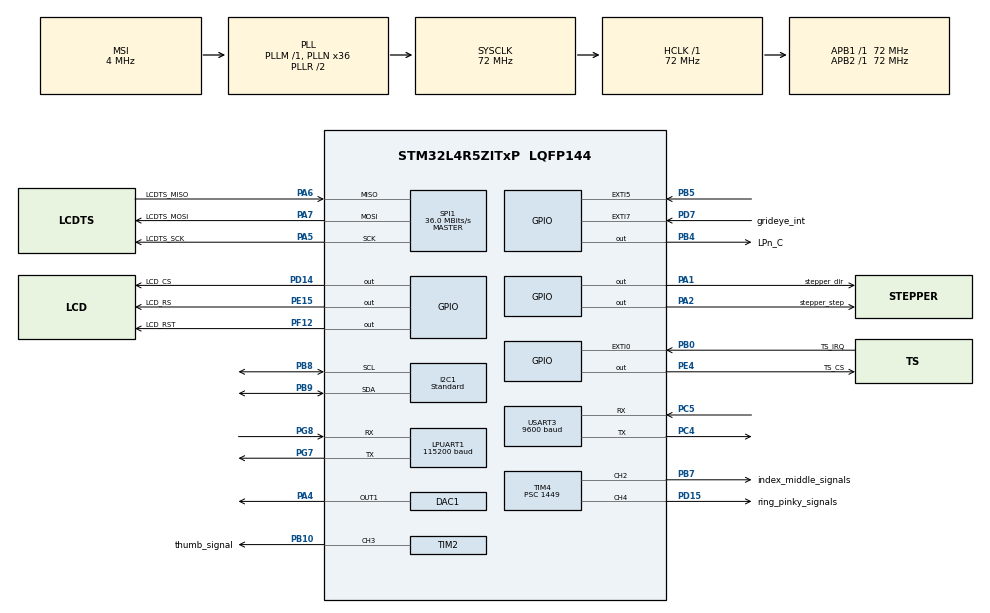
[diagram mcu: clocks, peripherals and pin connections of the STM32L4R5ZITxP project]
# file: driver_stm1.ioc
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DAC1.DAC_Trigger-DAC_OUT1=DAC_TRIGGER_T6_TRGO
Dma.DAC1_CH1.0.Direction=DMA_MEMORY_TO_PERIPH
Dma.DAC1_CH1.0.EventEnable=DISABLE
Dma.DAC1_CH1.0.Instance=DMA1_Channel3
Dma.DAC1_CH1.0.MemDataAlignment=DMA_MDATAALIGN_HALFWORD
Dma.DAC1_CH1.0.MemInc=DMA_MINC_ENABLE
Dma.DAC1_CH1.0.Mode=DMA_NORMAL
Dma.DAC1_CH1.0.PeriphDataAlignment=DMA_PDATAALIGN_HALFWORD
Dma.DAC1_CH1.0.PeriphInc=DMA_PINC_DISABLE
Dma.DAC1_CH1.0.Polarity=HAL_DMAMUX_REQUEST_GEN_RISING
Dma.DAC1_CH1.0.Priority=DMA_PRIORITY_LOW
Dma.DAC1_CH1.0.RequestNumber=1
Dma.DAC1_CH1.0.SignalID=NONE
Dma.DAC1_CH1.0.SyncEnable=DISABLE
Dma.DAC1_CH1.0.SyncPolarity=HAL_DMAMUX_SYNC_NO_EVENT
Dma.DAC1_CH1.0.SyncRequestNumber=1
Dma.DAC1_CH1.0.SyncSignalID=NONE
Dma.Request0=DAC1_CH1
I2C1.I2C_Speed_Mode=I2C_Standard
I2C1.Timing=0x10C18DCC
LPUART1.BaudRate=115200
LPUART1.WordLength=UART_WORDLENGTH_8B
Mcu.Family=STM32L4
Mcu.Name=STM32L4R5ZITxP
Mcu.Package=LQFP144
NVIC.DMA1_Channel3_IRQn=true\:0\:0\:false\:false\:true\:false\:true\:true
NVIC.EXTI9_5_IRQn=true\:0\:0\:false\:false\:true\:true\:true\:true
NVIC.PriorityGroup=NVIC_PRIORITYGROUP_4
PA1.GPIO_Label=stepper_dir
PA1.Signal=GPIO_Output
PA10.Signal=USB_OTG_FS_ID
PA13\ (JTMS/SWDIO).Mode=Serial_Wire
PA13\ (JTMS/SWDIO).Signal=SYS_JTMS-SWDIO
PA14\ (JTCK/SWCLK).Mode=Serial_Wire
PA14\ (JTCK/SWCLK).Signal=SYS_JTCK-SWCLK
PA2.GPIO_Label=stepper_step
PA2.Signal=GPIO_Output
PA3.Signal=ADCx_IN8
PA4.Signal=COMP_DAC11_group
PA5.GPIO_Label=LCDTS_SCK
PA5.Mode=Full_Duplex_Master
PA5.Signal=SPI1_SCK
PA6.GPIO_Label=LCDTS_MISO
PA6.Mode=Full_Duplex_Master
PA6.Signal=SPI1_MISO
PA7.GPIO_Label=LCDTS_MOSI
PA7.Mode=Full_Duplex_Master
PA7.Signal=SPI1_MOSI
PA8.Signal=USB_OTG_FS_SOF
PA9.Signal=USB_OTG_FS_VBUS
PB0.GPIO_Label=TS_IRQ
PB0.Signal=GPXTI0
PB1.Signal=ADCx_IN16
PB10.GPIO_Label=thumb_signal
PB10.Signal=S_TIM2_CH3
PB12.Signal=SAI2_FS_A
PB13.Signal=SAI2_SCK_A
PB14.Signal=S_TIM15_CH1
PB15.Signal=SAI2_SD_A
PB2.Signal=COMP1_INP
PB3\ (JTDO/TRACESWO).Signal=SPI3_SCK
PB4\ (NJTRST).GPIO_Label=LPn_C
PB4\ (NJTRST).Signal=GPIO_Output
PB5.Signal=GPXTI5
PB6.Signal=COMP2_INP
PB7.GPIO_Label=index_middle_signals
PB7.Signal=S_TIM4_CH2
PB8.Mode=I2C
PB8.Signal=I2C1_SCL
PB9.Mode=I2C
PB9.Signal=I2C1_SDA
PC0.Signal=ADCx_IN1
PC1.Signal=ADCx_IN2
PC10.Signal=SDMMC1_D2
PC11.Signal=SDMMC1_D3
PC12.Signal=SDMMC1_CK
PC13.Signal=SYS_WKUP2
PC14-OSC32_IN\ (PC14).Signal=RCC_OSC32_IN
PC15-OSC32_OUT\ (PC15).Signal=RCC_OSC32_OUT
PC2.Signal=ADCx_IN3
PC3.Signal=ADCx_IN4
PC4.Mode=Asynchronous
PC4.Signal=USART3_TX
PC5.Mode=Asynchronous
PC5.Signal=USART3_RX
PC8.Signal=SDMMC1_D0
PC9.Signal=SDMMC1_D1
PD0.Signal=CAN1_RX
PD14.GPIO_Label=LCD_CS
PD14.GPIO_Speed=GPIO_SPEED_FREQ_VERY_HIGH
PD14.PinState=GPIO_PIN_SET
PD14.Signal=GPIO_Output
PD15.GPIO_Label=ring_pinky_signals
PD15.Signal=S_TIM4_CH4
PD2.Signal=SDMMC1_CMD
PD3.Signal=USART2_CTS
PD4.Signal=USART2_RTS
PD5.Signal=USART2_TX
PD6.Signal=USART2_RX
PD7.GPIO_Label=grideye_int
PD7.GPIO_ModeDefaultEXTI=GPIO_MODE_IT_FALLING
PD7.Signal=GPXTI7
PE0.Signal=S_TIM4_ETR
PE10.Signal=TIM1_CH2N
PE11.Signal=S_TIM1_CH2
PE12.Signal=TIM1_CH3N
PE13.Signal=S_TIM1_CH3
PE14.Signal=TIM1_BKIN2
PE15.GPIO_Label=LCD_RS
PE15.GPIO_Speed=GPIO_SPEED_FREQ_VERY_HIGH
PE15.Signal=GPIO_Output
PE2.Signal=SAI1_MCLK_A
PE3.Signal=SAI1_SD_B
PE4.GPIO_Label=TS_CS
PE4.Signal=GPIO_Output
PE7.Signal=S_TIM1_ETR
PE8.Signal=TIM1_CH1N
PE9.Signal=S_TIM1_CH1
PF0.Signal=I2C2_SDA
PF1.Signal=I2C2_SCL
PF12.GPIO_Label=LCD_RST
PF12.PinState=GPIO_PIN_SET
PF12.Signal=GPIO_Output
PF2.Signal=I2C2_SMBA
PF7.Signal=SAI1_MCLK_B
PG7.Mode=Asynchronous
PG7.Signal=LPUART1_TX
PG8.Mode=Asynchronous
PG8.Signal=LPUART1_RX
PH0-OSC_IN\ (PH0).Mode=HSE-External-Oscillator
PH0-OSC_IN\ (PH0).Signal=RCC_OSC_IN
PH1-OSC_OUT\ (PH1).Mode=HSE-External-Oscillator
PH1-OSC_OUT\ (PH1).Signal=RCC_OSC_OUT
ProjectManager.HeapSize=0x200
ProjectManager.StackSize=0x400
ProjectManager.TargetToolchain=STM32CubeIDE
RCC.AHBFreq_Value=72000000
RCC.APB1Freq_Value=72000000
RCC.APB1TimFreq_Value=72000000
RCC.APB2Freq_Value=72000000
RCC.APB2TimFreq_Value=72000000
RCC.CortexFreq_Value=72000000
RCC.HCLKFreq_Value=72000000
RCC.HSE_VALUE=8000000
RCC.HSI48_VALUE=48000000
RCC.HSI_VALUE=16000000
RCC.LSE_VALUE=32768
RCC.MSI_VALUE=4000000
RCC.PLLN=36
RCC.SYSCLKFreq_VALUE=72000000
RCC.SYSCLKSource=RCC_SYSCLKSOURCE_PLLCLK
RCC.VCOOutputFreq_Value=144000000
SH.ADCx_IN1.0=ADC1_IN1
SH.ADCx_IN16.0=ADC1_IN16
SH.ADCx_IN2.0=ADC1_IN2
SH.ADCx_IN3.0=ADC1_IN3
SH.ADCx_IN4.0=ADC1_IN4
SH.ADCx_IN8.0=ADC1_IN8
SH.COMP_DAC11_group.0=DAC1_OUT1,DAC_OUT1
SH.S_TIM15_CH1.0=TIM15_CH1
SH.S_TIM1_CH1.0=TIM1_CH1
SH.S_TIM1_CH2.0=TIM1_CH2
SH.S_TIM1_CH3.0=TIM1_CH3
SH.S_TIM1_ETR.0=TIM1_ETR
SH.S_TIM2_CH3.0=TIM2_CH3,PWM Generation3 CH3
SH.S_TIM4_CH2.0=TIM4_CH2,PWM Generation2 CH2
SH.S_TIM4_CH4.0=TIM4_CH4,PWM Generation4 CH4
SH.S_TIM4_ETR.0=TIM4_ETR
SPI1.CalculateBaudRate=36.0 MBits/s
SPI1.DataSize=SPI_DATASIZE_8BIT
SPI1.Direction=SPI_DIRECTION_2LINES
SPI1.Mode=SPI_MODE_MASTER
SPI1.VirtualType=VM_MASTER
TIM1.Prescaler=71
TIM2.AutoReloadPreload=TIM_AUTORELOAD_PRELOAD_ENABLE
TIM2.Channel-Output\ Compare1\ No\ Output=TIM_CHANNEL_1
TIM2.Channel-PWM\ Generation3\ CH3=TIM_CHANNEL_3
TIM2.Period=999
TIM2.Prescaler=1449
TIM4.AutoReloadPreload=TIM_AUTORELOAD_PRELOAD_ENABLE
TIM4.Channel-PWM\ Generation2\ CH2=TIM_CHANNEL_2
TIM4.Channel-PWM\ Generation4\ CH4=TIM_CHANNEL_4
TIM4.Period=999
TIM4.Prescaler=1449
TIM4.Pulse-PWM\ Generation2\ CH2=150
TIM4.Pulse-PWM\ Generation4\ CH4=150
TIM6.Period=99
TIM6.Prescaler=44
TIM6.TIM_MasterOutputTrigger=TIM_TRGO_UPDATE
USART3.BaudRate=9600
USART3.VirtualMode-Asynchronous=VM_ASYNC
VP_TIM1_VS_ClockSourceINT.Mode=Internal
VP_TIM2_VS_no_output1.Mode=Output Compare1 No Output
VP_TIM3_VS_ClockSourceINT.Mode=Internal
VP_TIM4_VS_ClockSourceINT.Mode=Internal
VP_TIM6_VS_ClockSourceINT.Mode=Enable_Timer
board=NUCLEO-L4R5ZI-P

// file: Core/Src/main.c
/* USER CODE BEGIN Header */
/**
  ******************************************************************************
  * @file           : main.c
  * @brief          : Main program body
  ******************************************************************************
  * @attention
  *
  * Copyright (c) 2025 STMicroelectronics.
  * All rights reserved.
  *
  * This software is licensed under terms that can be found in the LICENSE file
  * in the root directory of this software component.
  * If no LICENSE file comes with this software, it is provided AS-IS.
  *
  ******************************************************************************
  */
/* USER CODE END Header */
#include "main.h"

/* USER CODE BEGIN Includes */
#include "grideye.h"
#include "stepper.h"
#include <stdio.h>
#include <stdlib.h>
#include "vl53l7cx_api.h"
#include "knowledge.h"
#include "NanoEdgeAI.h"
#include "audio_clips.h"
/* USER CODE END Includes */

DAC_HandleTypeDef hdac1;
DMA_HandleTypeDef hdma_dac1_ch1;

I2C_HandleTypeDef hi2c1;

UART_HandleTypeDef hlpuart1;
UART_HandleTypeDef huart3;

SPI_HandleTypeDef hspi1;

TIM_HandleTypeDef htim1;
TIM_HandleTypeDef htim2;
TIM_HandleTypeDef htim3;
TIM_HandleTypeDef htim4;
TIM_HandleTypeDef htim6;

/* USER CODE BEGIN PV */
VL53L7CX_Configuration Dev;
VL53L7CX_ResultsData Results;
uint8_t isAlive, status, isReady, i;

/* USER CODE END PV */

void SystemClock_Config(void);
static void MX_GPIO_Init(void);
static void MX_DMA_Init(void);
static void MX_TIM1_Init(void);
static void MX_I2C1_Init(void);
static void MX_LPUART1_UART_Init(void);
static void MX_TIM2_Init(void);
static void MX_TIM4_Init(void);
static void MX_TIM3_Init(void);
static void MX_SPI1_Init(void);
static void MX_DAC1_Init(void);
static void MX_TIM6_Init(void);
static void MX_USART3_UART_Init(void);

/* USER CODE BEGIN 0 */
#ifdef __GNUC__
#define PUTCHAR_PROTOTYPE int __io_putchar(int ch)
#else
#define PUTCHAR_PROTOTYPE int fputc(int ch, FILE *f)
#endif

PUTCHAR_PROTOTYPE
{
	 HAL_UART_Transmit(&hlpuart1, (uint8_t *)&ch, 1, HAL_MAX_DELAY);  // Changed from huart3
	    return ch;
}

void fill_buffer(float sample_buffer[]) {
	uint8_t isReady = 0;

	    // Wait for sensor data to be ready
	    do {
	        status = vl53l7cx_check_data_ready(&Dev, &isReady);
	        HAL_Delay(10);
	    } while(!isReady);

	    // Get ranging data from sensor
	    status = vl53l7cx_get_ranging_data(&Dev, &Results);

	    if(status == 0) {
	        // Fill buffer with distance data (64 zones)
	        for(int i = 0; i < 64; i++) {
	            uint16_t distance = Results.distance_mm[i];
	            uint8_t target_status = Results.target_status[i];

	            // VL53L7CX target_status values:
	            // 5 = Valid ranging
	            // 9 = Valid ranging with signal rate too low
	            // Others = Invalid (no target, wraparound, etc.)

	            if(target_status == 5 || target_status == 9) {
	                // Valid reading
	                if(distance > 255) {
	                    sample_buffer[i] = 255.0;
	                } else {
	                    sample_buffer[i] = (float)distance;
	                }
	            } else {
	                // Invalid reading - use max value to indicate "no object"
	                sample_buffer[i] = 255.0;
	            }
	        }

	        //Send all 64 data points in CSV format
//	        for(int i = 0; i < 64; i++) {
//	            printf("%.2f", sample_buffer[i]);
//	            if(i < 63) {
//	                printf(",");
//	            }
//	        }
//	        printf("\r\n");
	    } else {
	        printf("Error reading sensor: %d\r\n", status);
	    }
}

extern DAC_HandleTypeDef hdac1;
extern TIM_HandleTypeDef htim6;

static uint16_t audio_buffer_12[80000];  // Safe size
static uint32_t rps_len_12 = 0;

void Audio_Init(void)
{
    HAL_DAC_Start(&hdac1, DAC_CHANNEL_1);

    int16_t* src = (int16_t*)rps_clip_u8;  // Signed, not unsigned
    rps_len_12 = sizeof(rps_clip_u8) / 2;

    for (uint32_t i = 0; i < rps_len_12; i++) {
        audio_buffer_12[i] = (uint16_t)((src[i] + 32768) >> 4);
    }
}

static const uint16_t *current_buf = NULL;
static uint32_t current_len = 0;
static uint8_t audio_busy = 0;

static void Audio_PlayBuffer(const uint16_t *buf, uint32_t len)
{
	 printf("PlayBuffer called, len=%lu\r\n", len);
    if (audio_busy) {
    	printf("BUSY - returning\r\n");

        return;
    }

    current_buf = buf;
    current_len = len;
    audio_busy = 1;

    // Make sure timer is stopped before we start
    HAL_TIM_Base_Stop(&htim6);

    // Start timer that triggers DAC at 16 kHz
    HAL_TIM_Base_Start(&htim6);

    printf("Before DMA start\r\n");

    // Start DAC DMA in 12-bit right-aligned mode
    HAL_DAC_Start_DMA(&hdac1,
                      DAC_CHANNEL_1,
                      (uint32_t *)current_buf,
                      current_len,
                      DAC_ALIGN_12B_R);

    printf("After DMA start\r\n");
}

void Audio_PlayRPS(void)
{
	   printf("audio_busy = %d\r\n", audio_busy);
    Audio_PlayBuffer(audio_buffer_12, rps_len_12);
}
//void Audio_PlayWin(void)
//{
//    uint16_t* src = (uint16_t*)win_clip_u8;
//    uint32_t num_samples = win_clip_u8_len / 2;
//
//    for (uint32_t i = 0; i < num_samples; i++) {
//        audio_buffer_12[i] = src[i] >> 4;
//    }
//    Audio_PlayBuffer(audio_buffer_12, num_samples);
//}
//
//void Audio_PlayLose(void)
//{
//    uint16_t* src = (uint16_t*)lose_clip_u8;
//    uint32_t num_samples = lose_clip_u8_len / 2;
//
//    for (uint32_t i = 0; i < num_samples; i++) {
//        audio_buffer_12[i] = src[i] >> 4;
//    }
//    Audio_PlayBuffer(audio_buffer_12, num_samples);
//}

// Called when DMA transfer for DAC channel 1 completes
void HAL_DAC_ConvCpltCallbackCh1(DAC_HandleTypeDef *hdac)
{
    if (hdac->Instance == DAC1) {
        // Stop timer and DMA when clip ends
        HAL_TIM_Base_Stop(&htim6);
        HAL_DAC_Stop_DMA(hdac, DAC_CHANNEL_1);
        audio_busy = 0;
    }
}

/* USER CODE END 0 */

int main(void)
{

  /* MCU Configuration--------------------------------------------------------*/

  /* Reset of all peripherals, Initializes the Flash interface and the Systick. */
  HAL_Init();

  /* Configure the system clock */
  SystemClock_Config();

  /* Initialize all configured peripherals */
  MX_GPIO_Init();
  MX_DMA_Init();
  MX_TIM1_Init();
  MX_I2C1_Init();
  MX_LPUART1_UART_Init();
  MX_TIM2_Init();
  MX_TIM4_Init();
  MX_TIM3_Init();
  MX_SPI1_Init();
  MX_DAC1_Init();
  MX_TIM6_Init();
  MX_USART3_UART_Init();
  /* USER CODE BEGIN 2 */
  HAL_TIM_Base_Start(&htim1);

  Audio_Init();
  srand(HAL_GetTick());

  printf("Initializing Grid-Eye...\r\n");
  GridEye_Init(&hi2c1);
  HAL_Delay(100);

  // Test thermistor
  float thermistor_temp = GridEye_ReadThermistor(&hi2c1);
  printf("Thermistor temp: %.2f C\r\n", thermistor_temp);
  printf("Grid-Eye ready!\r\n");

  Dev.platform.address = 0x52;
  	  HAL_GPIO_WritePin(LPn_C_GPIO_Port, LPn_C_Pin, GPIO_PIN_RESET);
  	  HAL_Delay(10);
  	  HAL_GPIO_WritePin(LPn_C_GPIO_Port, LPn_C_Pin, GPIO_PIN_SET);
  	  HAL_Delay(100);
  	  vl53l7cx_is_alive(&Dev, &isAlive);

  	    if (isAlive) {
  	          printf("Initializing sensor...\r\n");
  	          vl53l7cx_init(&Dev);
  	          vl53l7cx_set_ranging_mode(&Dev, VL53L7CX_RANGING_MODE_AUTONOMOUS);
  	          vl53l7cx_set_resolution(&Dev, VL53L7CX_RESOLUTION_8X8);
  	          vl53l7cx_set_ranging_frequency_hz(&Dev, 15);
  	          vl53l7cx_start_ranging(&Dev);
  	          }
  	    else {
  	  	  printf("TOF dead\r\n");
  	    }
  	    float input_user_buffer[DATA_INPUT_USER * AXIS_NUMBER];
  	    float output_class_buffer[CLASS_NUMBER];

  /* USER CODE END 2 */

  /* Infinite loop */
  /* USER CODE BEGIN WHILE */
  	  enum neai_state error_code = neai_classification_init(knowledge);
  	     if (error_code != NEAI_OK) {
  	   	  printf("NanoEdgeAI init error: %d\r\n", error_code);
  	     }
  	     uint16_t id_class = 0;
  	     const char* class_names[] = {
  	            "Unknown",        // After testing, update this
  	            "Scissors",       // Scissors?
  	            "Rock",    // Rock?
  	            "Paper",     // Paper?
  	            "No Sign"      // Class 4 confirmed
  	        };
  while (1)
  {
	  	HAL_Delay(20);
    	int max_temp_col = find_hottest_col(&hi2c1);
    	if (max_temp_col != -1) { // if person detected

    		if(max_temp_col == 3 || max_temp_col == 4) {
    			printf("Person detected\r\n");
    			move_to_zone(7, &htim1);
    			int robotPick;
    			// countdown rock paper scissors shoot coordinated with lcd
    			printf("1. About to play audio\r\n");
    			printf("2. Audio started\r\n");
    			uint8_t countdown_cmd = 9;
    			while(HAL_UART_Transmit(&huart3, &countdown_cmd, 1, HAL_MAX_DELAY) != HAL_OK) {
    				printf("Retrying\r\n");
    			}

    			HAL_Delay(3000);
    			Audio_PlayRPS();

    			HAL_Delay(5000);
    			printf("3. Countdown done\r\n");
    			printf("SHOOT\r\n");
    			int gestureCounts[4];
    			for (int i = 0; i < 4; i++) {
    				gestureCounts[i] = 0;
    			}
    			enum neai_state run_code;
    			for (int i = 0; i < 40; i++) {
    				fill_buffer(input_user_buffer);
    				run_code = neai_classification(input_user_buffer, output_class_buffer, &id_class);
    				if (run_code == NEAI_OK) {
    				    //printf("Detected: %s (ID: %d)\r\n", class_names[id_class], id_class);
    				    if (id_class == 1) {
    				    	gestureCounts[1]++;
    				    }
    				    else if(id_class == 2) {
    				    	gestureCounts[2]++;
    				    }
    				    else if(id_class == 3) {
    				    	gestureCounts[3]++;
    				    }
    				}
    				HAL_Delay(2);
    			}
    			int maxCount = 0;
    			int maxIndex = 0;
    			for (int i = 0; i < 4; i++) {
    				if (gestureCounts[i] > maxCount) {
    					maxCount = gestureCounts[i];
    					maxIndex = i;
    				}
    			}
    			printf("FINAL GESTURE: %s\r\n", class_names[maxIndex]);

    			//if no sign is detected, try again
    			if (maxIndex == 0) {
    			    printf("No valid gesture detected, try again\r\n");
    			    move_to_zone(4, &htim1);
    			    continue;
    			}

    			int chance = rand() % 100;

    			if (chance < 70) {
    			    // Win - counter their move
    			    if (maxIndex == 1) robotPick = 1;
    			    else if (maxIndex == 2) robotPick = 2;
    			    else robotPick = 0;
    			}
    			else if (chance < 85) {
    			    // Tie
    			    robotPick = maxIndex - 1;
    			}
    			else {
    			    // Lose
    			    if (maxIndex == 1) robotPick = 2;
    			    else if (maxIndex == 2) robotPick = 0;
    			    else robotPick = 1;
    			}

    			char gestures[] = {'S', 'R', 'P'};

    			char gesture = gestures[robotPick];
    			uint8_t combo = robotPick*3+(maxIndex-1);
    			printf("Sending gesture: %c\r\n", gesture);
    			while(HAL_UART_Transmit(&huart3, &combo, 1, HAL_MAX_DELAY) != HAL_OK) {
    			    printf("Retrying\r\n");
    			}
    			printf("Sent\r\n");

    			//updated for maxIndex instead of id_class

    			HAL_Delay(1000);

    			uint32_t checkStart = HAL_GetTick();
    			int personLeft = 1;

    			while (HAL_GetTick() - checkStart < 3000) {
    			    if (find_hottest_col(&hi2c1) != -1) {
    			        personLeft = 0;
    			        break;
    			    }
    			    HAL_Delay(100);
    			}

    			if (personLeft) {
    			    move_to_zone(4, &htim1);

    			}

    			id_class = 0;
    		}
    	}

    /* USER CODE END WHILE */

  }
}

void SystemClock_Config(void)
{
  RCC_OscInitTypeDef RCC_OscInitStruct = {0};
  RCC_ClkInitTypeDef RCC_ClkInitStruct = {0};

  /** Configure the main internal regulator output voltage
  */
  if (HAL_PWREx_ControlVoltageScaling(PWR_REGULATOR_VOLTAGE_SCALE1) != HAL_OK)
  {
    Error_Handler();
  }

  /** Initializes the RCC Oscillators according to the specified parameters
  * in the RCC_OscInitTypeDef structure.
  */
  RCC_OscInitStruct.OscillatorType = RCC_OSCILLATORTYPE_MSI;
  RCC_OscInitStruct.MSIState = RCC_MSI_ON;
  RCC_OscInitStruct.MSICalibrationValue = 0;
  RCC_OscInitStruct.MSIClockRange = RCC_MSIRANGE_6;
  RCC_OscInitStruct.PLL.PLLState = RCC_PLL_ON;
  RCC_OscInitStruct.PLL.PLLSource = RCC_PLLSOURCE_MSI;
  RCC_OscInitStruct.PLL.PLLM = 1;
  RCC_OscInitStruct.PLL.PLLN = 36;
  RCC_OscInitStruct.PLL.PLLP = RCC_PLLP_DIV2;
  RCC_OscInitStruct.PLL.PLLQ = RCC_PLLQ_DIV2;
  RCC_OscInitStruct.PLL.PLLR = RCC_PLLR_DIV2;
  if (HAL_RCC_OscConfig(&RCC_OscInitStruct) != HAL_OK)
  {
    Error_Handler();
  }

  /** Initializes the CPU, AHB and APB buses clocks
  */
  RCC_ClkInitStruct.ClockType = RCC_CLOCKTYPE_HCLK|RCC_CLOCKTYPE_SYSCLK
                              |RCC_CLOCKTYPE_PCLK1|RCC_CLOCKTYPE_PCLK2;
  RCC_ClkInitStruct.SYSCLKSource = RCC_SYSCLKSOURCE_PLLCLK;
  RCC_ClkInitStruct.AHBCLKDivider = RCC_SYSCLK_DIV1;
  RCC_ClkInitStruct.APB1CLKDivider = RCC_HCLK_DIV1;
  RCC_ClkInitStruct.APB2CLKDivider = RCC_HCLK_DIV1;

  if (HAL_RCC_ClockConfig(&RCC_ClkInitStruct, FLASH_LATENCY_3) != HAL_OK)
  {
    Error_Handler();
  }
}

static void MX_DAC1_Init(void)
{

  DAC_ChannelConfTypeDef sConfig = {0};

  /** DAC Initialization
  */
  hdac1.Instance = DAC1;
  if (HAL_DAC_Init(&hdac1) != HAL_OK)
  {
    Error_Handler();
  }

  /** DAC channel OUT1 config
  */
  sConfig.DAC_SampleAndHold = DAC_SAMPLEANDHOLD_DISABLE;
  sConfig.DAC_Trigger = DAC_TRIGGER_T6_TRGO;
  sConfig.DAC_HighFrequency = DAC_HIGH_FREQUENCY_INTERFACE_MODE_DISABLE;
  sConfig.DAC_OutputBuffer = DAC_OUTPUTBUFFER_ENABLE;
  sConfig.DAC_ConnectOnChipPeripheral = DAC_CHIPCONNECT_DISABLE;
  sConfig.DAC_UserTrimming = DAC_TRIMMING_FACTORY;
  if (HAL_DAC_ConfigChannel(&hdac1, &sConfig, DAC_CHANNEL_1) != HAL_OK)
  {
    Error_Handler();
  }

}

static void MX_I2C1_Init(void)
{

  hi2c1.Instance = I2C1;
  hi2c1.Init.Timing = 0x10C18DCC;
  hi2c1.Init.OwnAddress1 = 0;
  hi2c1.Init.AddressingMode = I2C_ADDRESSINGMODE_7BIT;
  hi2c1.Init.DualAddressMode = I2C_DUALADDRESS_DISABLE;
  hi2c1.Init.OwnAddress2 = 0;
  hi2c1.Init.OwnAddress2Masks = I2C_OA2_NOMASK;
  hi2c1.Init.GeneralCallMode = I2C_GENERALCALL_DISABLE;
  hi2c1.Init.NoStretchMode = I2C_NOSTRETCH_DISABLE;
  if (HAL_I2C_Init(&hi2c1) != HAL_OK)
  {
    Error_Handler();
  }

  /** Configure Analogue filter
  */
  if (HAL_I2CEx_ConfigAnalogFilter(&hi2c1, I2C_ANALOGFILTER_ENABLE) != HAL_OK)
  {
    Error_Handler();
  }

  /** Configure Digital filter
  */
  if (HAL_I2CEx_ConfigDigitalFilter(&hi2c1, 0) != HAL_OK)
  {
    Error_Handler();
  }

}

static void MX_LPUART1_UART_Init(void)
{

  hlpuart1.Instance = LPUART1;
  hlpuart1.Init.BaudRate = 115200;
  hlpuart1.Init.WordLength = UART_WORDLENGTH_8B;
  hlpuart1.Init.StopBits = UART_STOPBITS_1;
  hlpuart1.Init.Parity = UART_PARITY_NONE;
  hlpuart1.Init.Mode = UART_MODE_TX_RX;
  hlpuart1.Init.HwFlowCtl = UART_HWCONTROL_NONE;
  hlpuart1.Init.OneBitSampling = UART_ONE_BIT_SAMPLE_DISABLE;
  hlpuart1.Init.ClockPrescaler = UART_PRESCALER_DIV1;
  hlpuart1.AdvancedInit.AdvFeatureInit = UART_ADVFEATURE_NO_INIT;
  hlpuart1.FifoMode = UART_FIFOMODE_DISABLE;
  if (HAL_UART_Init(&hlpuart1) != HAL_OK)
  {
    Error_Handler();
  }
  if (HAL_UARTEx_SetTxFifoThreshold(&hlpuart1, UART_TXFIFO_THRESHOLD_1_8) != HAL_OK)
  {
    Error_Handler();
  }
  if (HAL_UARTEx_SetRxFifoThreshold(&hlpuart1, UART_RXFIFO_THRESHOLD_1_8) != HAL_OK)
  {
    Error_Handler();
  }
  if (HAL_UARTEx_DisableFifoMode(&hlpuart1) != HAL_OK)
  {
    Error_Handler();
  }

}

static void MX_USART3_UART_Init(void)
{

  huart3.Instance = USART3;
  huart3.Init.BaudRate = 9600;
  huart3.Init.WordLength = UART_WORDLENGTH_8B;
  huart3.Init.StopBits = UART_STOPBITS_1;
  huart3.Init.Parity = UART_PARITY_NONE;
  huart3.Init.Mode = UART_MODE_TX_RX;
  huart3.Init.HwFlowCtl = UART_HWCONTROL_NONE;
  huart3.Init.OverSampling = UART_OVERSAMPLING_16;
  huart3.Init.OneBitSampling = UART_ONE_BIT_SAMPLE_DISABLE;
  huart3.Init.ClockPrescaler = UART_PRESCALER_DIV1;
  huart3.AdvancedInit.AdvFeatureInit = UART_ADVFEATURE_NO_INIT;
  if (HAL_UART_Init(&huart3) != HAL_OK)
  {
    Error_Handler();
  }
  if (HAL_UARTEx_SetTxFifoThreshold(&huart3, UART_TXFIFO_THRESHOLD_1_8) != HAL_OK)
  {
    Error_Handler();
  }
  if (HAL_UARTEx_SetRxFifoThreshold(&huart3, UART_RXFIFO_THRESHOLD_1_8) != HAL_OK)
  {
    Error_Handler();
  }
  if (HAL_UARTEx_DisableFifoMode(&huart3) != HAL_OK)
  {
    Error_Handler();
  }

}

static void MX_SPI1_Init(void)
{

  /* SPI1 parameter configuration*/
  hspi1.Instance = SPI1;
  hspi1.Init.Mode = SPI_MODE_MASTER;
  hspi1.Init.Direction = SPI_DIRECTION_2LINES;
  hspi1.Init.DataSize = SPI_DATASIZE_8BIT;
  hspi1.Init.CLKPolarity = SPI_POLARITY_LOW;
  hspi1.Init.CLKPhase = SPI_PHASE_1EDGE;
  hspi1.Init.NSS = SPI_NSS_SOFT;
  hspi1.Init.BaudRatePrescaler = SPI_BAUDRATEPRESCALER_2;
  hspi1.Init.FirstBit = SPI_FIRSTBIT_MSB;
  hspi1.Init.TIMode = SPI_TIMODE_DISABLE;
  hspi1.Init.CRCCalculation = SPI_CRCCALCULATION_DISABLE;
  hspi1.Init.CRCPolynomial = 7;
  hspi1.Init.CRCLength = SPI_CRC_LENGTH_DATASIZE;
  hspi1.Init.NSSPMode = SPI_NSS_PULSE_ENABLE;
  if (HAL_SPI_Init(&hspi1) != HAL_OK)
  {
    Error_Handler();
  }

}

static void MX_TIM1_Init(void)
{

  TIM_ClockConfigTypeDef sClockSourceConfig = {0};
  TIM_MasterConfigTypeDef sMasterConfig = {0};

  htim1.Instance = TIM1;
  htim1.Init.Prescaler = 71;
  htim1.Init.CounterMode = TIM_COUNTERMODE_UP;
  htim1.Init.Period = 65535;
  htim1.Init.ClockDivision = TIM_CLOCKDIVISION_DIV1;
  htim1.Init.RepetitionCounter = 0;
  htim1.Init.AutoReloadPreload = TIM_AUTORELOAD_PRELOAD_DISABLE;
  if (HAL_TIM_Base_Init(&htim1) != HAL_OK)
  {
    Error_Handler();
  }
  sClockSourceConfig.ClockSource = TIM_CLOCKSOURCE_INTERNAL;
  if (HAL_TIM_ConfigClockSource(&htim1, &sClockSourceConfig) != HAL_OK)
  {
    Error_Handler();
  }
  sMasterConfig.MasterOutputTrigger = TIM_TRGO_RESET;
  sMasterConfig.MasterOutputTrigger2 = TIM_TRGO2_RESET;
  sMasterConfig.MasterSlaveMode = TIM_MASTERSLAVEMODE_DISABLE;
  if (HAL_TIMEx_MasterConfigSynchronization(&htim1, &sMasterConfig) != HAL_OK)
  {
    Error_Handler();
  }

}

static void MX_TIM2_Init(void)
{

  TIM_MasterConfigTypeDef sMasterConfig = {0};
  TIM_OC_InitTypeDef sConfigOC = {0};

  htim2.Instance = TIM2;
  htim2.Init.Prescaler = 1449;
  htim2.Init.CounterMode = TIM_COUNTERMODE_UP;
  htim2.Init.Period = 999;
  htim2.Init.ClockDivision = TIM_CLOCKDIVISION_DIV1;
  htim2.Init.AutoReloadPreload = TIM_AUTORELOAD_PRELOAD_ENABLE;
  if (HAL_TIM_OC_Init(&htim2) != HAL_OK)
  {
    Error_Handler();
  }
  if (HAL_TIM_PWM_Init(&htim2) != HAL_OK)
  {
    Error_Handler();
  }
  sMasterConfig.MasterOutputTrigger = TIM_TRGO_RESET;
  sMasterConfig.MasterSlaveMode = TIM_MASTERSLAVEMODE_DISABLE;
  if (HAL_TIMEx_MasterConfigSynchronization(&htim2, &sMasterConfig) != HAL_OK)
  {
    Error_Handler();
  }
  sConfigOC.OCMode = TIM_OCMODE_TIMING;
  sConfigOC.Pulse = 0;
  sConfigOC.OCPolarity = TIM_OCPOLARITY_HIGH;
  sConfigOC.OCFastMode = TIM_OCFAST_DISABLE;
  if (HAL_TIM_OC_ConfigChannel(&htim2, &sConfigOC, TIM_CHANNEL_1) != HAL_OK)
  {
    Error_Handler();
  }
  sConfigOC.OCMode = TIM_OCMODE_PWM1;
  if (HAL_TIM_PWM_ConfigChannel(&htim2, &sConfigOC, TIM_CHANNEL_3) != HAL_OK)
  {
    Error_Handler();
  }
  HAL_TIM_MspPostInit(&htim2);

}

static void MX_TIM3_Init(void)
{

  TIM_ClockConfigTypeDef sClockSourceConfig = {0};
  TIM_MasterConfigTypeDef sMasterConfig = {0};

  htim3.Instance = TIM3;
  htim3.Init.Prescaler = 0;
  htim3.Init.CounterMode = TIM_COUNTERMODE_UP;
  htim3.Init.Period = 65535;
  htim3.Init.ClockDivision = TIM_CLOCKDIVISION_DIV1;
  htim3.Init.AutoReloadPreload = TIM_AUTORELOAD_PRELOAD_DISABLE;
  if (HAL_TIM_Base_Init(&htim3) != HAL_OK)
  {
    Error_Handler();
  }
  sClockSourceConfig.ClockSource = TIM_CLOCKSOURCE_INTERNAL;
  if (HAL_TIM_ConfigClockSource(&htim3, &sClockSourceConfig) != HAL_OK)
  {
    Error_Handler();
  }
  sMasterConfig.MasterOutputTrigger = TIM_TRGO_RESET;
  sMasterConfig.MasterSlaveMode = TIM_MASTERSLAVEMODE_DISABLE;
  if (HAL_TIMEx_MasterConfigSynchronization(&htim3, &sMasterConfig) != HAL_OK)
  {
    Error_Handler();
  }

}

static void MX_TIM4_Init(void)
{

  TIM_ClockConfigTypeDef sClockSourceConfig = {0};
  TIM_MasterConfigTypeDef sMasterConfig = {0};
  TIM_OC_InitTypeDef sConfigOC = {0};

  htim4.Instance = TIM4;
  htim4.Init.Prescaler = 1449;
  htim4.Init.CounterMode = TIM_COUNTERMODE_UP;
  htim4.Init.Period = 999;
  htim4.Init.ClockDivision = TIM_CLOCKDIVISION_DIV1;
  htim4.Init.AutoReloadPreload = TIM_AUTORELOAD_PRELOAD_ENABLE;
  if (HAL_TIM_Base_Init(&htim4) != HAL_OK)
  {
    Error_Handler();
  }
  sClockSourceConfig.ClockSource = TIM_CLOCKSOURCE_INTERNAL;
  if (HAL_TIM_ConfigClockSource(&htim4, &sClockSourceConfig) != HAL_OK)
  {
    Error_Handler();
  }
  if (HAL_TIM_PWM_Init(&htim4) != HAL_OK)
  {
    Error_Handler();
  }
  sMasterConfig.MasterOutputTrigger = TIM_TRGO_RESET;
  sMasterConfig.MasterSlaveMode = TIM_MASTERSLAVEMODE_DISABLE;
  if (HAL_TIMEx_MasterConfigSynchronization(&htim4, &sMasterConfig) != HAL_OK)
  {
    Error_Handler();
  }
  sConfigOC.OCMode = TIM_OCMODE_PWM1;
  sConfigOC.Pulse = 150;
  sConfigOC.OCPolarity = TIM_OCPOLARITY_HIGH;
  sConfigOC.OCFastMode = TIM_OCFAST_DISABLE;
  if (HAL_TIM_PWM_ConfigChannel(&htim4, &sConfigOC, TIM_CHANNEL_2) != HAL_OK)
  {
    Error_Handler();
  }
  if (HAL_TIM_PWM_ConfigChannel(&htim4, &sConfigOC, TIM_CHANNEL_4) != HAL_OK)
  {
    Error_Handler();
  }
  HAL_TIM_MspPostInit(&htim4);

}

static void MX_TIM6_Init(void)
{

  TIM_MasterConfigTypeDef sMasterConfig = {0};

  htim6.Instance = TIM6;
  htim6.Init.Prescaler = 44;
  htim6.Init.CounterMode = TIM_COUNTERMODE_UP;
  htim6.Init.Period = 99;
  htim6.Init.AutoReloadPreload = TIM_AUTORELOAD_PRELOAD_DISABLE;
  if (HAL_TIM_Base_Init(&htim6) != HAL_OK)
  {
    Error_Handler();
  }
  sMasterConfig.MasterOutputTrigger = TIM_TRGO_UPDATE;
  sMasterConfig.MasterSlaveMode = TIM_MASTERSLAVEMODE_DISABLE;
  if (HAL_TIMEx_MasterConfigSynchronization(&htim6, &sMasterConfig) != HAL_OK)
  {
    Error_Handler();
  }

}

static void MX_DMA_Init(void)
{

  /* DMA controller clock enable */
  __HAL_RCC_DMAMUX1_CLK_ENABLE();
  __HAL_RCC_DMA1_CLK_ENABLE();

  /* DMA interrupt init */
  /* DMA1_Channel3_IRQn interrupt configuration */
  HAL_NVIC_SetPriority(DMA1_Channel3_IRQn, 0, 0);
  HAL_NVIC_EnableIRQ(DMA1_Channel3_IRQn);

}

static void MX_GPIO_Init(void)
{
  GPIO_InitTypeDef GPIO_InitStruct = {0};

  /* GPIO Ports Clock Enable */
  __HAL_RCC_GPIOE_CLK_ENABLE();
  __HAL_RCC_GPIOC_CLK_ENABLE();
  __HAL_RCC_GPIOF_CLK_ENABLE();
  __HAL_RCC_GPIOH_CLK_ENABLE();
  __HAL_RCC_GPIOA_CLK_ENABLE();
  __HAL_RCC_GPIOB_CLK_ENABLE();
  __HAL_RCC_GPIOD_CLK_ENABLE();
  __HAL_RCC_GPIOG_CLK_ENABLE();
  HAL_PWREx_EnableVddIO2();

  /*Configure GPIO pin Output Level */
  HAL_GPIO_WritePin(GPIOE, TS_CS_Pin|LCD_RS_Pin, GPIO_PIN_RESET);

  /*Configure GPIO pin Output Level */
  HAL_GPIO_WritePin(GPIOA, stepper_dir_Pin|stepper_step_Pin, GPIO_PIN_RESET);

  /*Configure GPIO pin Output Level */
  HAL_GPIO_WritePin(LCD_RST_GPIO_Port, LCD_RST_Pin, GPIO_PIN_SET);

  /*Configure GPIO pin Output Level */
  HAL_GPIO_WritePin(LCD_CS_GPIO_Port, LCD_CS_Pin, GPIO_PIN_SET);

  /*Configure GPIO pin Output Level */
  HAL_GPIO_WritePin(LPn_C_GPIO_Port, LPn_C_Pin, GPIO_PIN_RESET);

  /*Configure GPIO pins : PE2 PE3 */
  GPIO_InitStruct.Pin = GPIO_PIN_2|GPIO_PIN_3;
  GPIO_InitStruct.Mode = GPIO_MODE_AF_PP;
  GPIO_InitStruct.Pull = GPIO_NOPULL;
  GPIO_InitStruct.Speed = GPIO_SPEED_FREQ_LOW;
  GPIO_InitStruct.Alternate = GPIO_AF13_SAI1;
  HAL_GPIO_Init(GPIOE, &GPIO_InitStruct);

  /*Configure GPIO pin : TS_CS_Pin */
  GPIO_InitStruct.Pin = TS_CS_Pin;
  GPIO_InitStruct.Mode = GPIO_MODE_OUTPUT_PP;
  GPIO_InitStruct.Pull = GPIO_NOPULL;
  GPIO_InitStruct.Speed = GPIO_SPEED_FREQ_LOW;
  HAL_GPIO_Init(TS_CS_GPIO_Port, &GPIO_InitStruct);

  /*Configure GPIO pins : PF0 PF1 PF2 */
  GPIO_InitStruct.Pin = GPIO_PIN_0|GPIO_PIN_1|GPIO_PIN_2;
  GPIO_InitStruct.Mode = GPIO_MODE_AF_OD;
  GPIO_InitStruct.Pull = GPIO_NOPULL;
  GPIO_InitStruct.Speed = GPIO_SPEED_FREQ_VERY_HIGH;
  GPIO_InitStruct.Alternate = GPIO_AF4_I2C2;
  HAL_GPIO_Init(GPIOF, &GPIO_InitStruct);

  /*Configure GPIO pin : PF7 */
  GPIO_InitStruct.Pin = GPIO_PIN_7;
  GPIO_InitStruct.Mode = GPIO_MODE_AF_PP;
  GPIO_InitStruct.Pull = GPIO_NOPULL;
  GPIO_InitStruct.Speed = GPIO_SPEED_FREQ_LOW;
  GPIO_InitStruct.Alternate = GPIO_AF13_SAI1;
  HAL_GPIO_Init(GPIOF, &GPIO_InitStruct);

  /*Configure GPIO pins : PC0 PC1 PC2 PC3 */
  GPIO_InitStruct.Pin = GPIO_PIN_0|GPIO_PIN_1|GPIO_PIN_2|GPIO_PIN_3;
  GPIO_InitStruct.Mode = GPIO_MODE_ANALOG_ADC_CONTROL;
  GPIO_InitStruct.Pull = GPIO_NOPULL;
  HAL_GPIO_Init(GPIOC, &GPIO_InitStruct);

  /*Configure GPIO pins : stepper_dir_Pin stepper_step_Pin */
  GPIO_InitStruct.Pin = stepper_dir_Pin|stepper_step_Pin;
  GPIO_InitStruct.Mode = GPIO_MODE_OUTPUT_PP;
  GPIO_InitStruct.Pull = GPIO_NOPULL;
  GPIO_InitStruct.Speed = GPIO_SPEED_FREQ_LOW;
  HAL_GPIO_Init(GPIOA, &GPIO_InitStruct);

  /*Configure GPIO pin : PA3 */
  GPIO_InitStruct.Pin = GPIO_PIN_3;
  GPIO_InitStruct.Mode = GPIO_MODE_ANALOG_ADC_CONTROL;
  GPIO_InitStruct.Pull = GPIO_NOPULL;
  HAL_GPIO_Init(GPIOA, &GPIO_InitStruct);

  /*Configure GPIO pins : TS_IRQ_Pin PB5 */
  GPIO_InitStruct.Pin = TS_IRQ_Pin|GPIO_PIN_5;
  GPIO_InitStruct.Mode = GPIO_MODE_IT_RISING;
  GPIO_InitStruct.Pull = GPIO_NOPULL;
  HAL_GPIO_Init(GPIOB, &GPIO_InitStruct);

  /*Configure GPIO pin : PB1 */
  GPIO_InitStruct.Pin = GPIO_PIN_1;
  GPIO_InitStruct.Mode = GPIO_MODE_ANALOG_ADC_CONTROL;
  GPIO_InitStruct.Pull = GPIO_NOPULL;
  HAL_GPIO_Init(GPIOB, &GPIO_InitStruct);

  /*Configure GPIO pins : PB2 PB6 */
  GPIO_InitStruct.Pin = GPIO_PIN_2|GPIO_PIN_6;
  GPIO_InitStruct.Mode = GPIO_MODE_ANALOG;
  GPIO_InitStruct.Pull = GPIO_NOPULL;
  HAL_GPIO_Init(GPIOB, &GPIO_InitStruct);

  /*Configure GPIO pin : LCD_RST_Pin */
  GPIO_InitStruct.Pin = LCD_RST_Pin;
  GPIO_InitStruct.Mode = GPIO_MODE_OUTPUT_PP;
  GPIO_InitStruct.Pull = GPIO_NOPULL;
  GPIO_InitStruct.Speed = GPIO_SPEED_FREQ_LOW;
  HAL_GPIO_Init(LCD_RST_GPIO_Port, &GPIO_InitStruct);

  /*Configure GPIO pin : LCD_RS_Pin */
  GPIO_InitStruct.Pin = LCD_RS_Pin;
  GPIO_InitStruct.Mode = GPIO_MODE_OUTPUT_PP;
  GPIO_InitStruct.Pull = GPIO_NOPULL;
  GPIO_InitStruct.Speed = GPIO_SPEED_FREQ_VERY_HIGH;
  HAL_GPIO_Init(LCD_RS_GPIO_Port, &GPIO_InitStruct);

  /*Configure GPIO pins : PB12 PB13 PB15 */
  GPIO_InitStruct.Pin = GPIO_PIN_12|GPIO_PIN_13|GPIO_PIN_15;
  GPIO_InitStruct.Mode = GPIO_MODE_AF_PP;
  GPIO_InitStruct.Pull = GPIO_NOPULL;
  GPIO_InitStruct.Speed = GPIO_SPEED_FREQ_LOW;
  GPIO_InitStruct.Alternate = GPIO_AF13_SAI2;
  HAL_GPIO_Init(GPIOB, &GPIO_InitStruct);

  /*Configure GPIO pin : PB14 */
  GPIO_InitStruct.Pin = GPIO_PIN_14;
  GPIO_InitStruct.Mode = GPIO_MODE_AF_PP;
  GPIO_InitStruct.Pull = GPIO_NOPULL;
  GPIO_InitStruct.Speed = GPIO_SPEED_FREQ_LOW;
  GPIO_InitStruct.Alternate = GPIO_AF14_TIM15;
  HAL_GPIO_Init(GPIOB, &GPIO_InitStruct);

  /*Configure GPIO pin : LCD_CS_Pin */
  GPIO_InitStruct.Pin = LCD_CS_Pin;
  GPIO_InitStruct.Mode = GPIO_MODE_OUTPUT_PP;
  GPIO_InitStruct.Pull = GPIO_NOPULL;
  GPIO_InitStruct.Speed = GPIO_SPEED_FREQ_VERY_HIGH;
  HAL_GPIO_Init(LCD_CS_GPIO_Port, &GPIO_InitStruct);

  /*Configure GPIO pins : PC8 PC9 PC10 PC11
                           PC12 */
  GPIO_InitStruct.Pin = GPIO_PIN_8|GPIO_PIN_9|GPIO_PIN_10|GPIO_PIN_11
                          |GPIO_PIN_12;
  GPIO_InitStruct.Mode = GPIO_MODE_AF_PP;
  GPIO_InitStruct.Pull = GPIO_NOPULL;
  GPIO_InitStruct.Speed = GPIO_SPEED_FREQ_VERY_HIGH;
  GPIO_InitStruct.Alternate = GPIO_AF12_SDMMC1;
  HAL_GPIO_Init(GPIOC, &GPIO_InitStruct);

  /*Configure GPIO pins : PA8 PA10 */
  GPIO_InitStruct.Pin = GPIO_PIN_8|GPIO_PIN_10;
  GPIO_InitStruct.Mode = GPIO_MODE_AF_PP;
  GPIO_InitStruct.Pull = GPIO_NOPULL;
  GPIO_InitStruct.Speed = GPIO_SPEED_FREQ_VERY_HIGH;
  GPIO_InitStruct.Alternate = GPIO_AF10_OTG_FS;
  HAL_GPIO_Init(GPIOA, &GPIO_InitStruct);

  /*Configure GPIO pin : PA9 */
  GPIO_InitStruct.Pin = GPIO_PIN_9;
  GPIO_InitStruct.Mode = GPIO_MODE_INPUT;
  GPIO_InitStruct.Pull = GPIO_NOPULL;
  HAL_GPIO_Init(GPIOA, &GPIO_InitStruct);

  /*Configure GPIO pin : PD0 */
  GPIO_InitStruct.Pin = GPIO_PIN_0;
  GPIO_InitStruct.Mode = GPIO_MODE_AF_PP;
  GPIO_InitStruct.Pull = GPIO_NOPULL;
  GPIO_InitStruct.Speed = GPIO_SPEED_FREQ_VERY_HIGH;
  GPIO_InitStruct.Alternate = GPIO_AF9_CAN1;
  HAL_GPIO_Init(GPIOD, &GPIO_InitStruct);

  /*Configure GPIO pin : PD2 */
  GPIO_InitStruct.Pin = GPIO_PIN_2;
  GPIO_InitStruct.Mode = GPIO_MODE_AF_PP;
  GPIO_InitStruct.Pull = GPIO_NOPULL;
  GPIO_InitStruct.Speed = GPIO_SPEED_FREQ_VERY_HIGH;
  GPIO_InitStruct.Alternate = GPIO_AF12_SDMMC1;
  HAL_GPIO_Init(GPIOD, &GPIO_InitStruct);

  /*Configure GPIO pins : PD3 PD4 PD5 PD6 */
  GPIO_InitStruct.Pin = GPIO_PIN_3|GPIO_PIN_4|GPIO_PIN_5|GPIO_PIN_6;
  GPIO_InitStruct.Mode = GPIO_MODE_AF_PP;
  GPIO_InitStruct.Pull = GPIO_NOPULL;
  GPIO_InitStruct.Speed = GPIO_SPEED_FREQ_VERY_HIGH;
  GPIO_InitStruct.Alternate = GPIO_AF7_USART2;
  HAL_GPIO_Init(GPIOD, &GPIO_InitStruct);

  /*Configure GPIO pin : grideye_int_Pin */
  GPIO_InitStruct.Pin = grideye_int_Pin;
  GPIO_InitStruct.Mode = GPIO_MODE_IT_FALLING;
  GPIO_InitStruct.Pull = GPIO_NOPULL;
  HAL_GPIO_Init(grideye_int_GPIO_Port, &GPIO_InitStruct);

  /*Configure GPIO pin : PB3 */
  GPIO_InitStruct.Pin = GPIO_PIN_3;
  GPIO_InitStruct.Mode = GPIO_MODE_AF_PP;
  GPIO_InitStruct.Pull = GPIO_NOPULL;
  GPIO_InitStruct.Speed = GPIO_SPEED_FREQ_VERY_HIGH;
  GPIO_InitStruct.Alternate = GPIO_AF6_SPI3;
  HAL_GPIO_Init(GPIOB, &GPIO_InitStruct);

  /*Configure GPIO pin : LPn_C_Pin */
  GPIO_InitStruct.Pin = LPn_C_Pin;
  GPIO_InitStruct.Mode = GPIO_MODE_OUTPUT_PP;
  GPIO_InitStruct.Pull = GPIO_NOPULL;
  GPIO_InitStruct.Speed = GPIO_SPEED_FREQ_LOW;
  HAL_GPIO_Init(LPn_C_GPIO_Port, &GPIO_InitStruct);

  /* EXTI interrupt init*/
  HAL_NVIC_SetPriority(EXTI9_5_IRQn, 0, 0);
  HAL_NVIC_EnableIRQ(EXTI9_5_IRQn);

}

void Error_Handler(void)
{
  __disable_irq();
  while (1)
  {
  }
}
